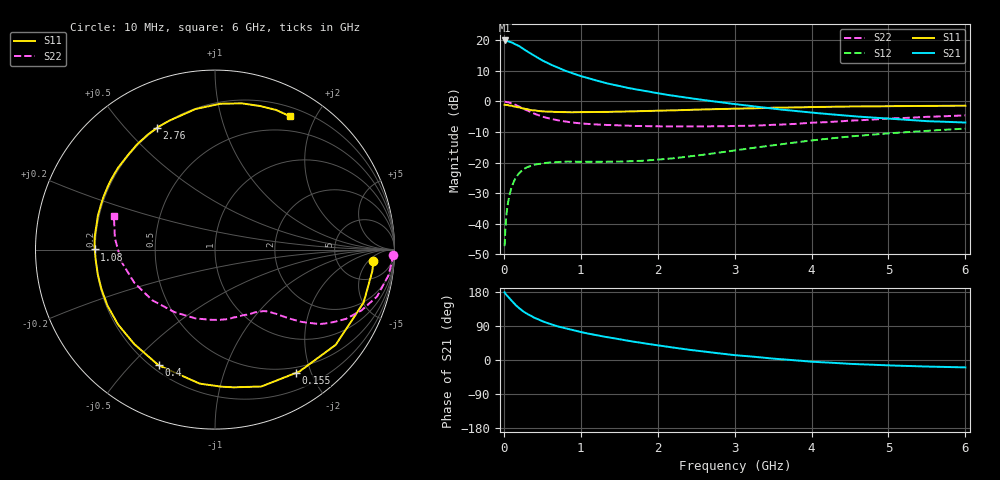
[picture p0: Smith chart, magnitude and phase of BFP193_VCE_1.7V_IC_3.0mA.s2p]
! Infineon Technologies  Discrete & RF Semiconductors
! BFP193
! VCE = 1.7 V,  IC =  3.0 mA
! Common Emitter S-Parameters:  Jan 2016
# GHz  S  MA  R  50
!  f  S11  S21  S12  S22
! GHz  MAG  ANG  MAG  ANG  MAG  ANG  MAG  ANG
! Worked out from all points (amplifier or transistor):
!   210 points, 10 MHz to 6 GHz, reference 50 ohm
!   highest |S21| = 20.0 dB at 10 MHz (marker M1)
!   |S21| within 3 dB of that: start of sweep to 267.9 MHz
!   unconditionally stable (mu >= 1): 1.442 GHz to 3.667 GHz
!   at 185 MHz: K = 0.15, MSG = 21.1 dB, |S12| = -23.9 dB
!   at 1.52 GHz: K = 1.04, MAG = 11.1 dB, |S12| = -19.7 dB
!   at 6 GHz: K = 0.95, MSG = 1.0 dB, |S12| = -8.9 dB
!   S11 on the Smith chart (normalised r, x): 10 MHz: 12, -7; 155 MHz: 0.42, -1.77; 400 MHz: 0.23, -0.60; 1.08 GHz: 0.20, +0.00; 2.76 GHz: 0.20, +0.61; 6 GHz: 0.31, +1.67
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0.01  0.885 -4.1  9.962 178.6  0.0043 87.8  0.9936 -1.6
0.02  0.8847 -7.8  9.754 174.9  0.0084 85.2  0.9891 -3.3
0.04  0.8767 -15.7  9.701 170.2  0.0165 80.6  0.9807 -6.6
0.05  0.8789 -19.6  9.699 167.9  0.0205 79.7  0.9778 -8.3
0.1  0.8568 -38.2  9.318 156.7  0.0396 70.2  0.9403 -16.1
0.155  0.8213 -56.8  8.561 144.7  0.0565 59.9  0.8779 -23.0
0.2  0.8053 -71.3  8.04 136.6  0.0674 53.9  0.8253 -27.9
0.26  0.7648 -87.2  7.161 127.1  0.0783 46.3  0.7545 -32.8
0.3  0.7516 -96.5  6.633 121.8  0.084 42.7  0.716 -35.4
0.4  0.7172 -116.0  5.585 111.1  0.0927 35.3  0.6279 -39.9
0.5  0.6926 -130.4  4.693 102.2  0.0975 30.1  0.5652 -42.8
0.6  0.6827 -142.3  4.066 95.0  0.1008 26.7  0.5226 -44.9
0.8  0.67 -160.8  3.18 83.4  0.1037 22.6  0.4695 -48.2
1.02  0.6674 -176.2  2.564 73.0  0.1033 21.5  0.4361 -51.8
1.08  0.6701 179.9  2.438 70.4  0.1035 21.3  0.4302 -53.0
1.4  0.6793 163.9  1.901 58.2  0.1034 22.6  0.4118 -59.5
2.02  0.7073 139.0  1.348 38.2  0.1126 31.5  0.3924 -74.6
2.76  0.7508 115.6  0.993 18.5  0.1438 39.3  0.3918 -97.4
3.1  0.7653 107.1  0.877 11.2  0.1647 40.1  0.3989 -109.2
4.1  0.8143 86.4  0.641 -5.5  0.2379 34.7  0.4539 -144.7
5.1  0.8398 71.3  0.514 -14.9  0.3071 23.1  0.5313 -175.8
6  0.8522 60.7  0.453 -19.5  0.36 11.5  0.5944 161.4
